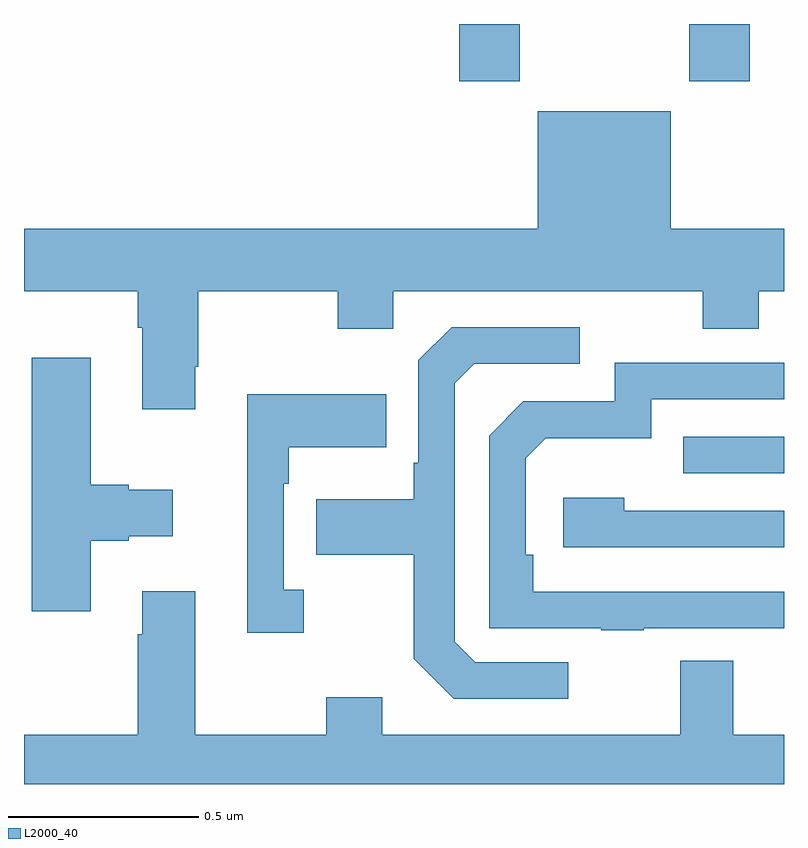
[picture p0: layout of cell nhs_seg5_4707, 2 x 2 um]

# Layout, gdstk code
import gdstk
lib = gdstk.Library(unit=1e-6, precision=1e-09)
def R(c, l, rs):  # rectangles x0, y0, x1, y1
    for r in rs: c.add(gdstk.rectangle(r[:2], r[2:], *l))
def P(c, l, *ps):  # polygons
    for p in ps: c.add(gdstk.Polygon(p, *l))
L2000_40 = (2000, 40)

nhs_seg5_4707 = lib.new_cell('nhs_seg5_4707')
R(nhs_seg5_4707, L2000_40, [(175.735,853.617,176,853.713), (175.145,854.649,175.305,854.799), (175.75,854.649,175.91,854.799)])
P(nhs_seg5_4707, L2000_40, [(174.451,853.897),(174.459,853.897),(174.459,854.096),(174.826,854.096),(174.826,853.997),(174.972,853.997),(174.972,854.096),(175.786,854.096),(175.786,853.997),(175.933,853.997),(175.933,854.096),(176,854.096),(176,854.26),(175.702,854.26),(175.702,854.569),(175.352,854.569),(175.352,854.26),(174,854.26),(174,854.096),(174.299,854.096),(174.299,854),(174.311,854),(174.311,853.785),(174.451,853.785)],
  [(175.432,853.119),(175.188,853.119),(175.134,853.173),(175.134,853.854),(175.185,853.905),(175.462,853.905),(175.462,854.001),(175.125,854.001),(175.038,853.914),(175.038,853.645),(175.026,853.645),(175.026,853.549),(174.769,853.549),(174.769,853.402),(175.026,853.402),(175.026,853.129),(175.131,853.023),(175.432,853.023)],
  [(174.175,853.439),(174.275,853.439),(174.275,853.451),(174.391,853.451),(174.391,853.573),(174.275,853.573),(174.275,853.586),(174.175,853.586),(174.175,853.921),(174.02,853.921),(174.02,853.254),(174.175,853.254)],
  [(175.631,853.209),(176,853.209),(176,853.305),(175.34,853.305),(175.34,853.402),(175.32,853.402),(175.32,853.656),(175.373,853.709),(175.65,853.709),(175.65,853.812),(176,853.812),(176,853.908),(175.554,853.908),(175.554,853.806),(175.314,853.806),(175.224,853.716),(175.224,853.209),(175.519,853.209),(175.519,853.204),(175.631,853.204)],
  [(174.736,853.31),(174.684,853.31),(174.684,853.589),(174.697,853.589),(174.697,853.685),(174.953,853.685),(174.953,853.825),(174.587,853.825),(174.587,853.197),(174.736,853.197)],
  [(176,853.518),(175.58,853.518),(175.58,853.552),(175.419,853.552),(175.419,853.422),(176,853.422)],
  [(176,852.928),(175.867,852.928),(175.867,853.123),(175.727,853.123),(175.727,852.928),(174.943,852.928),(174.943,853.027),(174.796,853.027),(174.796,852.928),(174.451,852.928),(174.451,853.306),(174.311,853.306),(174.311,853.193),(174.299,853.193),(174.299,852.928),(174,852.928),(174,852.799),(176,852.799)])

lib.write_gds('nhs_seg5_4707.gds')
